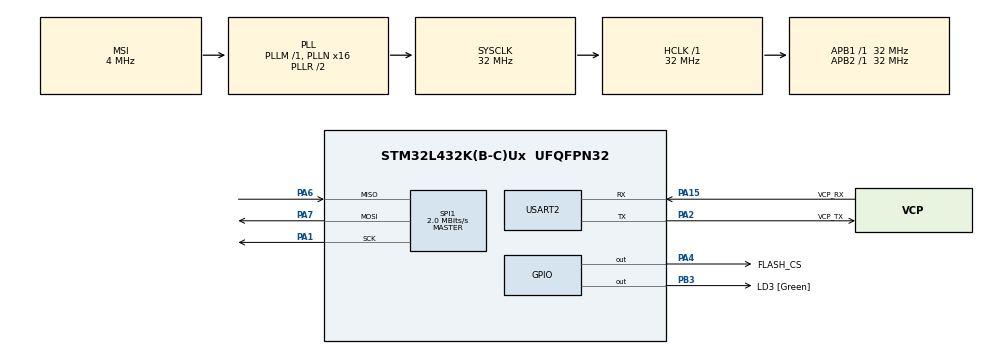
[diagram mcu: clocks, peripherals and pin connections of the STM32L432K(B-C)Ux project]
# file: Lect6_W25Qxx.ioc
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Mcu.Family=STM32L4
Mcu.Name=STM32L432K(B-C)Ux
Mcu.Package=UFQFPN32
NVIC.PriorityGroup=NVIC_PRIORITYGROUP_4
PA0.GPIO_Label=MCO [High speed clock in]
PA0.Mode=HSE-External-Clock-Source-for-LittleOrca
PA0.Signal=RCC_CK_IN
PA1.Mode=Full_Duplex_Master
PA1.Signal=SPI1_SCK
PA13\ (JTMS-SWDIO).GPIO_Label=SWDIO
PA13\ (JTMS-SWDIO).Mode=Serial_Wire
PA13\ (JTMS-SWDIO).Signal=SYS_JTMS-SWDIO
PA14\ (JTCK-SWCLK).GPIO_Label=SWCLK
PA14\ (JTCK-SWCLK).Mode=Serial_Wire
PA14\ (JTCK-SWCLK).Signal=SYS_JTCK-SWCLK
PA15\ (JTDI).GPIO_Label=VCP_RX
PA15\ (JTDI).Mode=Asynchronous
PA15\ (JTDI).Signal=USART2_RX
PA2.GPIO_Label=VCP_TX
PA2.Mode=Asynchronous
PA2.Signal=USART2_TX
PA4.GPIO_Label=FLASH_CS
PA4.GPIO_PuPd=GPIO_PULLUP
PA4.GPIO_Speed=GPIO_SPEED_FREQ_VERY_HIGH
PA4.PinState=GPIO_PIN_SET
PA4.Signal=GPIO_Output
PA6.Mode=Full_Duplex_Master
PA6.Signal=SPI1_MISO
PA7.Mode=Full_Duplex_Master
PA7.Signal=SPI1_MOSI
PB3\ (JTDO-TRACESWO).GPIO_Label=LD3 [Green]
PB3\ (JTDO-TRACESWO).Signal=GPIO_Output
PC14-OSC32_IN\ (PC14).Mode=LSE-External-Oscillator
PC14-OSC32_IN\ (PC14).Signal=RCC_OSC32_IN
PC15-OSC32_OUT\ (PC15).Mode=LSE-External-Oscillator
PC15-OSC32_OUT\ (PC15).Signal=RCC_OSC32_OUT
ProjectManager.HeapSize=0x200
ProjectManager.StackSize=0x400
ProjectManager.TargetToolchain=STM32CubeIDE
RCC.AHBFreq_Value=32000000
RCC.APB1Freq_Value=32000000
RCC.APB1TimFreq_Value=32000000
RCC.APB2Freq_Value=32000000
RCC.APB2TimFreq_Value=32000000
RCC.CortexFreq_Value=32000000
RCC.HCLKFreq_Value=32000000
RCC.HSE_VALUE=8000000
RCC.HSI16_VALUE=16000000
RCC.HSI48_VALUE=48000000
RCC.HSI_VALUE=16000000
RCC.MSI_VALUE=4000000
RCC.PLLMUL=RCC_PLLMUL_4
RCC.PLLN=16
RCC.SYSCLKFreq_VALUE=32000000
RCC.SYSCLKSource=RCC_SYSCLKSOURCE_PLLCLK
RCC.VCOOutputFreq_Value=64000000
SPI1.BaudRatePrescaler=SPI_BAUDRATEPRESCALER_16
SPI1.CLKPhase=SPI_PHASE_2EDGE
SPI1.CLKPolarity=SPI_POLARITY_HIGH
SPI1.CalculateBaudRate=2.0 MBits/s
SPI1.DataSize=SPI_DATASIZE_8BIT
SPI1.Direction=SPI_DIRECTION_2LINES
SPI1.Mode=SPI_MODE_MASTER
SPI1.VirtualType=VM_MASTER
USART2.VirtualMode-Asynchronous=VM_ASYNC
board=NUCLEO-L432KC

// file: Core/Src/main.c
/* USER CODE BEGIN Header */
/**
  ******************************************************************************
  * @file           : main.c
  * @brief          : Main program body
  ******************************************************************************
  * @attention
  *
  * <h2><center>&copy; Copyright (c) 2020 STMicroelectronics.
  * All rights reserved.</center></h2>
  *
  * This software component is licensed by ST under BSD 3-Clause license,
  * the "License"; You may not use this file except in compliance with the
  * License. You may obtain a copy of the License at:
  *                        opensource.org/licenses/BSD-3-Clause
  *
  ******************************************************************************
  */
/* USER CODE END Header */
#include "main.h"

/* USER CODE BEGIN Includes */
#include "w25qxx.h"

/* USER CODE END Includes */

SPI_HandleTypeDef hspi1;

UART_HandleTypeDef huart2;

void SystemClock_Config(void);
static void MX_GPIO_Init(void);
static void MX_USART2_UART_Init(void);
static void MX_SPI1_Init(void);

/* USER CODE BEGIN 0 */
void my_print(char *string)
{
	HAL_UART_Transmit(&huart2, string, strlen(string), 100);
}

/* USER CODE END 0 */

int main(void)
{

  /* MCU Configuration--------------------------------------------------------*/

  /* Reset of all peripherals, Initializes the Flash interface and the Systick. */
  HAL_Init();

  /* Configure the system clock */
  SystemClock_Config();

  /* Initialize all configured peripherals */
  MX_GPIO_Init();
  MX_USART2_UART_Init();
  MX_SPI1_Init();
  /* USER CODE BEGIN 2 */
  char buf[80];
  char ch;
  uint8_t rxBuf[256];
  uint8_t wrBuf[256];

  HAL_GPIO_WritePin(FLASH_CS_GPIO_Port, FLASH_CS_Pin, GPIO_PIN_SET);
  W25qxx_Init();
    /* USER CODE END 2 */

  /* Infinite loop */
  /* USER CODE BEGIN WHILE */
  while (1)
  {
	  my_print("\r\n\r\n=== External W25Qxx Flash memory commands ===\r\n");
	  sprintf(buf,"Read ID:  %x\r\n",W25qxx_ReadID());
	  my_print(buf);
	  my_print("64-bit Unique ID:  ");
	  for(int i=0;i<8;++i)
	  {
		  sprintf(buf,"0x%02X ",w25qxx.UniqID[i]);
		  my_print(buf);
	  }
	  my_print("\r\n");
	sprintf(buf,"Flash Size:  %d KB (%d bytes)\r\n",w25qxx.CapacityInKiloByte, w25qxx.CapacityInKiloByte*1024);
	my_print(buf);
	sprintf(buf,"Page Size: %d Bytes, Page Count: %d\r\n",w25qxx.PageSize,w25qxx.PageCount);
//	sprintf(buf,"Device Unique ID:  0x%08X 0x%08X 0x%08X\r\n\r\n", UID0, UID1, UID2);
	my_print(buf);
	sprintf(buf,"Sector Size: %d Bytes, Sector Count:  %d\r\n",w25qxx.SectorSize,w25qxx.SectorCount);
	my_print(buf);
	sprintf(buf,"Block Size: %d Bytes, Block Count:  %d\r\n",w25qxx.BlockSize,w25qxx.BlockCount);
	my_print(buf);

	my_print("\r\nWhat would you like to do:\r\n");
	my_print("   (1) Blank Check All Blocks\r\n");
	my_print("   (2) Blank Check Page 0\r\n");
	my_print("   (3) Erase Sector 0\r\n");
	my_print("   (4) Read Page 0\r\n");
	my_print("   (5) Write data to Page 0\r\n");
	my_print("   (6) Write data to Page 1000\r\n");
	my_print("   (7) Erase Page 1000\r\n");
	my_print("   (8) Read Page 1000\r\n");
	my_print("   ?  ");

	HAL_UART_Receive(&huart2, &ch, 1,HAL_MAX_DELAY);	// NOTE:  this function blocks forever unless a byte is sent over the serial line
	HAL_UART_Transmit(&huart2, &ch, 1, 100);

	switch(ch)
	{
	case '1':
		my_print("\r\n\r\n              0    1    2    3    4    5    6    7");
		for(int i=0;i<w25qxx.BlockCount;++i)
		{
			if(i%8==0)
			{
				sprintf(buf,"\r\nBlock %2d:  ",i);
				my_print(buf);
			}
			if(W25qxx_IsEmptyBlock(i,0, w25qxx.BlockSize))
				my_print("0xFF ");
			else
				my_print("**** ");
		}
		break;
	case '2':
		my_print("\r\n\r\nBlank checking Sector 0:  ");
		if(W25qxx_IsEmptySector(0,0, w25qxx.SectorSize))
			my_print("0xFF\r\n");
		else
			my_print("0x00\r\n");
		break;
	case '3':
		my_print("\r\n\r\nErasing Sector 0...\r\n");
		W25qxx_EraseSector(0);
		my_print("Sector 0 Erased\r\n");
		break;
	case '4':
		my_print("\r\n\r\nReading Page 0...\r\n");

		my_print("\r\n\r\nAddress:      0    1    2    3    4    5    6    7    8    9    A    B    C    D    E    F");
		W25qxx_ReadPage(rxBuf,0,0,w25qxx.PageSize);
		for(int i=0;i<w25qxx.PageSize;++i)
		{
			if(i%16==0)
			{
				sprintf(buf,"\r\n0x%06X:  ",i);
				my_print(buf);
			}
			sprintf(buf,"0x%02X ",rxBuf[i]);
			my_print(buf);
		}
		my_print("\r\n");
		break;
	case '5':
		my_print("\r\n\r\nWriting data to Page 0...\r\n");
		memset(&wrBuf[0], 0x1A, sizeof(wrBuf));
		W25qxx_WritePage(wrBuf,0,128,128);	// write 128 bytes offset by 128 from beginning of Page 0
		break;
	case '6':
		my_print("\r\n\r\nWriting data to Page 1000...\r\n");
		memset(&wrBuf[0], 0x42, sizeof(wrBuf));
		W25qxx_WritePage(wrBuf,1000,64,32);	// write 32 bytes offset by 64 from beginning of Page 1000
		break;
	case '7':
		my_print("\r\n\r\nErasing 1st Sector of Page 1000...\r\n");
		uint32_t eraseSectorAddress = 1000*w25qxx.PageSize/w25qxx.SectorSize;
		W25qxx_EraseSector(eraseSectorAddress);
		my_print("Sector 0 Erased\r\n");
		break;
	case '8':
		my_print("\r\n\r\nReading Page 1000...\r\n");

				my_print("\r\n\r\nAddress:      0    1    2    3    4    5    6    7    8    9    A    B    C    D    E    F");
				W25qxx_ReadPage(rxBuf,1000,0,w25qxx.PageSize);
				for(int i=0;i<w25qxx.PageSize;++i)
				{
					if(i%16==0)
					{
						sprintf(buf,"\r\n0x%06X:  ",i);
						my_print(buf);
					}
					sprintf(buf,"0x%02X ",rxBuf[i]);
					my_print(buf);
				}
				my_print("\r\n");
				break;_WritePage(wrBuf,1000,64,32);	// write 32 bytes offset by 64 from beginning of Page 0
		break;

	default:
		break;
	}
    /* USER CODE END WHILE */

  }
}

void SystemClock_Config(void)
{
  RCC_OscInitTypeDef RCC_OscInitStruct = {0};
  RCC_ClkInitTypeDef RCC_ClkInitStruct = {0};
  RCC_PeriphCLKInitTypeDef PeriphClkInit = {0};

  /** Configure LSE Drive Capability
  */
  HAL_PWR_EnableBkUpAccess();
  __HAL_RCC_LSEDRIVE_CONFIG(RCC_LSEDRIVE_LOW);
  /** Initializes the RCC Oscillators according to the specified parameters
  * in the RCC_OscInitTypeDef structure.
  */
  RCC_OscInitStruct.OscillatorType = RCC_OSCILLATORTYPE_LSE|RCC_OSCILLATORTYPE_MSI;
  RCC_OscInitStruct.LSEState = RCC_LSE_ON;
  RCC_OscInitStruct.MSIState = RCC_MSI_ON;
  RCC_OscInitStruct.MSICalibrationValue = 0;
  RCC_OscInitStruct.MSIClockRange = RCC_MSIRANGE_6;
  RCC_OscInitStruct.PLL.PLLState = RCC_PLL_ON;
  RCC_OscInitStruct.PLL.PLLSource = RCC_PLLSOURCE_MSI;
  RCC_OscInitStruct.PLL.PLLM = 1;
  RCC_OscInitStruct.PLL.PLLN = 16;
  RCC_OscInitStruct.PLL.PLLP = RCC_PLLP_DIV7;
  RCC_OscInitStruct.PLL.PLLQ = RCC_PLLQ_DIV2;
  RCC_OscInitStruct.PLL.PLLR = RCC_PLLR_DIV2;
  if (HAL_RCC_OscConfig(&RCC_OscInitStruct) != HAL_OK)
  {
    Error_Handler();
  }
  /** Initializes the CPU, AHB and APB buses clocks
  */
  RCC_ClkInitStruct.ClockType = RCC_CLOCKTYPE_HCLK|RCC_CLOCKTYPE_SYSCLK
                              |RCC_CLOCKTYPE_PCLK1|RCC_CLOCKTYPE_PCLK2;
  RCC_ClkInitStruct.SYSCLKSource = RCC_SYSCLKSOURCE_PLLCLK;
  RCC_ClkInitStruct.AHBCLKDivider = RCC_SYSCLK_DIV1;
  RCC_ClkInitStruct.APB1CLKDivider = RCC_HCLK_DIV1;
  RCC_ClkInitStruct.APB2CLKDivider = RCC_HCLK_DIV1;

  if (HAL_RCC_ClockConfig(&RCC_ClkInitStruct, FLASH_LATENCY_1) != HAL_OK)
  {
    Error_Handler();
  }
  PeriphClkInit.PeriphClockSelection = RCC_PERIPHCLK_USART2;
  PeriphClkInit.Usart2ClockSelection = RCC_USART2CLKSOURCE_PCLK1;
  if (HAL_RCCEx_PeriphCLKConfig(&PeriphClkInit) != HAL_OK)
  {
    Error_Handler();
  }
  /** Configure the main internal regulator output voltage
  */
  if (HAL_PWREx_ControlVoltageScaling(PWR_REGULATOR_VOLTAGE_SCALE1) != HAL_OK)
  {
    Error_Handler();
  }
  /** Enable MSI Auto calibration
  */
  HAL_RCCEx_EnableMSIPLLMode();
}

static void MX_SPI1_Init(void)
{

  /* SPI1 parameter configuration*/
  hspi1.Instance = SPI1;
  hspi1.Init.Mode = SPI_MODE_MASTER;
  hspi1.Init.Direction = SPI_DIRECTION_2LINES;
  hspi1.Init.DataSize = SPI_DATASIZE_8BIT;
  hspi1.Init.CLKPolarity = SPI_POLARITY_HIGH;
  hspi1.Init.CLKPhase = SPI_PHASE_2EDGE;
  hspi1.Init.NSS = SPI_NSS_SOFT;
  hspi1.Init.BaudRatePrescaler = SPI_BAUDRATEPRESCALER_16;
  hspi1.Init.FirstBit = SPI_FIRSTBIT_MSB;
  hspi1.Init.TIMode = SPI_TIMODE_DISABLE;
  hspi1.Init.CRCCalculation = SPI_CRCCALCULATION_DISABLE;
  hspi1.Init.CRCPolynomial = 7;
  hspi1.Init.CRCLength = SPI_CRC_LENGTH_DATASIZE;
  hspi1.Init.NSSPMode = SPI_NSS_PULSE_DISABLE;
  if (HAL_SPI_Init(&hspi1) != HAL_OK)
  {
    Error_Handler();
  }

}

static void MX_USART2_UART_Init(void)
{

  huart2.Instance = USART2;
  huart2.Init.BaudRate = 115200;
  huart2.Init.WordLength = UART_WORDLENGTH_8B;
  huart2.Init.StopBits = UART_STOPBITS_1;
  huart2.Init.Parity = UART_PARITY_NONE;
  huart2.Init.Mode = UART_MODE_TX_RX;
  huart2.Init.HwFlowCtl = UART_HWCONTROL_NONE;
  huart2.Init.OverSampling = UART_OVERSAMPLING_16;
  huart2.Init.OneBitSampling = UART_ONE_BIT_SAMPLE_DISABLE;
  huart2.AdvancedInit.AdvFeatureInit = UART_ADVFEATURE_NO_INIT;
  if (HAL_UART_Init(&huart2) != HAL_OK)
  {
    Error_Handler();
  }

}

static void MX_GPIO_Init(void)
{
  GPIO_InitTypeDef GPIO_InitStruct = {0};

  /* GPIO Ports Clock Enable */
  __HAL_RCC_GPIOC_CLK_ENABLE();
  __HAL_RCC_GPIOA_CLK_ENABLE();
  __HAL_RCC_GPIOB_CLK_ENABLE();

  /*Configure GPIO pin Output Level */
  HAL_GPIO_WritePin(FLASH_CS_GPIO_Port, FLASH_CS_Pin, GPIO_PIN_SET);

  /*Configure GPIO pin Output Level */
  HAL_GPIO_WritePin(LD3_GPIO_Port, LD3_Pin, GPIO_PIN_RESET);

  /*Configure GPIO pin : FLASH_CS_Pin */
  GPIO_InitStruct.Pin = FLASH_CS_Pin;
  GPIO_InitStruct.Mode = GPIO_MODE_OUTPUT_PP;
  GPIO_InitStruct.Pull = GPIO_PULLUP;
  GPIO_InitStruct.Speed = GPIO_SPEED_FREQ_VERY_HIGH;
  HAL_GPIO_Init(FLASH_CS_GPIO_Port, &GPIO_InitStruct);

  /*Configure GPIO pin : LD3_Pin */
  GPIO_InitStruct.Pin = LD3_Pin;
  GPIO_InitStruct.Mode = GPIO_MODE_OUTPUT_PP;
  GPIO_InitStruct.Pull = GPIO_NOPULL;
  GPIO_InitStruct.Speed = GPIO_SPEED_FREQ_LOW;
  HAL_GPIO_Init(LD3_GPIO_Port, &GPIO_InitStruct);

}

void Error_Handler(void)
{
}

/************************ (C) COPYRIGHT STMicroelectronics *****END OF FILE****/
